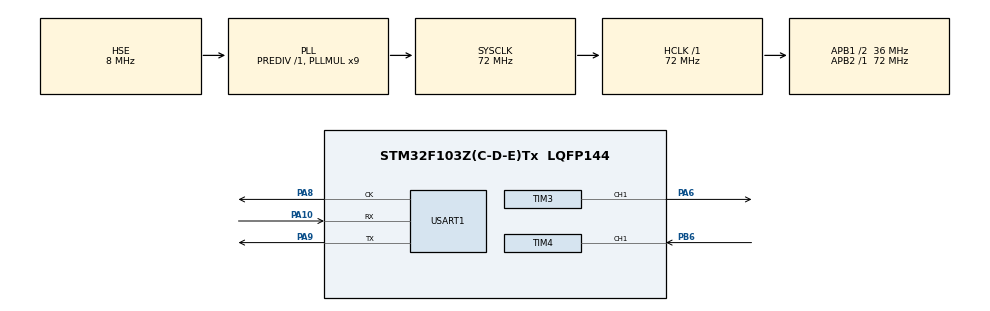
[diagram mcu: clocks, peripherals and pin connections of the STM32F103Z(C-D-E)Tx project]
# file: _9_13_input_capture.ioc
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Mcu.Family=STM32F1
Mcu.Name=STM32F103Z(C-D-E)Tx
Mcu.Package=LQFP144
NVIC.PriorityGroup=NVIC_PRIORITYGROUP_4
NVIC.TIM4_IRQn=true\:0\:0\:false\:false\:true\:true\:true
OSC_IN.Mode=HSE-External-Oscillator
OSC_IN.Signal=RCC_OSC_IN
OSC_OUT.Mode=HSE-External-Oscillator
OSC_OUT.Signal=RCC_OSC_OUT
PA10.Mode=Synchronous
PA10.Signal=USART1_RX
PA13.Mode=Serial_Wire
PA13.Signal=SYS_JTMS-SWDIO
PA14.Mode=Serial_Wire
PA14.Signal=SYS_JTCK-SWCLK
PA6.Signal=S_TIM3_CH1
PA8.Mode=Synchronous
PA8.Signal=USART1_CK
PA9.Mode=Synchronous
PA9.Signal=USART1_TX
PB6.Signal=S_TIM4_CH1
ProjectManager.HeapSize=0x200
ProjectManager.StackSize=0x400
ProjectManager.TargetToolchain=MDK-ARM V5
RCC.AHBFreq_Value=72000000
RCC.APB1CLKDivider=RCC_HCLK_DIV2
RCC.APB1Freq_Value=36000000
RCC.APB1TimFreq_Value=72000000
RCC.APB2Freq_Value=72000000
RCC.APB2TimFreq_Value=72000000
RCC.HCLKFreq_Value=72000000
RCC.PLLMUL=RCC_PLL_MUL9
RCC.PLLSourceVirtual=RCC_PLLSOURCE_HSE
RCC.SYSCLKFreq_VALUE=72000000
RCC.SYSCLKSource=RCC_SYSCLKSOURCE_PLLCLK
RCC.USBFreq_Value=72000000
SH.S_TIM3_CH1.0=TIM3_CH1,PWM Generation1 CH1
SH.S_TIM4_CH1.0=TIM4_CH1,Input_Capture1_from_TI1
TIM3.Channel-PWM\ Generation1\ CH1=TIM_CHANNEL_1
TIM3.Period=1999
TIM3.Prescaler=7199
TIM3.Pulse-PWM\ Generation1\ CH1=1000
TIM4.Channel-Input_Capture1_from_TI1=TIM_CHANNEL_1
TIM4.ICFilter_CH1=0
TIM4.Period=9999
TIM4.Prescaler=71
USART1.VirtualMode=VM_SYNC
VP_TIM3_VS_ClockSourceINT.Mode=Internal
VP_TIM4_VS_ClockSourceINT.Mode=Internal
board=custom

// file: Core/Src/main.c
/* USER CODE BEGIN Header */
/**
  ******************************************************************************
  * @file           : main.c
  * @brief          : Main program body
  ******************************************************************************
  * @attention
  *
  * <h2><center>&copy; Copyright (c) 2022 STMicroelectronics.
  * All rights reserved.</center></h2>
  *
  * This software component is licensed by ST under BSD 3-Clause license,
  * the "License"; You may not use this file except in compliance with the
  * License. You may obtain a copy of the License at:
  *                        opensource.org/licenses/BSD-3-Clause
  *
  ******************************************************************************
  */
/* USER CODE END Header */
#include "main.h"
#include "tim.h"
#include "usart.h"
#include "gpio.h"

/* USER CODE BEGIN Includes */
#include "string.h"
#include "stdio.h"
/* USER CODE END Includes */

/* USER CODE BEGIN PM */
#define TR_RISING 0
#define TR_FALLING 1
/* USER CODE END PM */

/* USER CODE BEGIN PV */
uint8_t TIM4CH1_CAPTURE_STA = 0; //输入捕获状态 bit0~bit5表示溢出次数  bit6表示上升沿已捕获 bit7表示下降沿已捕获
uint32_t TIM4CH1_CAPTURE_VAL = 0; //输入捕获值
/* USER CODE END PV */

void SystemClock_Config(void);

int main(void)
{
  /* USER CODE BEGIN 1 */
	uint8_t OverFlowCount;//溢出次数
  long long HighLevelTime = 0; //高电平脉冲多少个
  /* USER CODE END 1 */

  /* MCU Configuration--------------------------------------------------------*/

  /* Reset of all peripherals, Initializes the Flash interface and the Systick. */
  HAL_Init();

  /* Configure the system clock */
  SystemClock_Config();

  /* Initialize all configured peripherals */
  MX_GPIO_Init();
  MX_TIM3_Init();
  MX_TIM4_Init();
  MX_USART1_Init();
  /* USER CODE BEGIN 2 */
  __HAL_TIM_ENABLE_IT(&htim4,TIM_IT_UPDATE);//使能update中断，set DIER的UIE位
  HAL_TIM_IC_Start_IT(&htim4,TIM_CHANNEL_1);//使能捕获比较中断，使能捕获比较通道，并使能计数器，set DIER的CC1IE位，set CCER的CC1E位 ，set CR1的CEN位
  HAL_TIM_PWM_Start(&htim3,TIM_CHANNEL_1);//使能捕获比较通道，并使能计数器，set CCER的CC1E位，set CR1的CEN位
  /* USER CODE END 2 */

  /* Infinite loop */
  while (1)
  {

    /* USER CODE BEGIN 3 */
	  if(TIM4CH1_CAPTURE_STA&0X80) //bit7=1 说明成功捕获到了一次高电平
		{
			OverFlowCount = TIM4CH1_CAPTURE_STA&0X3F;
			HighLevelTime = OverFlowCount;
			printf("OverFlowCount = %d\r\n", OverFlowCount);
			/*溢出时间总和*/
			HighLevelTime = (HighLevelTime*(htim4.Init.Period+1))+TIM4CH1_CAPTURE_VAL;
			printf("HIGH:%lld\r\n",HighLevelTime);//打印总的高点平计数次数
			TIM4CH1_CAPTURE_STA=0; //一次捕获完成，重置 0
		}

  }
  /* USER CODE END 3 */
}

void SystemClock_Config(void)
{
  RCC_OscInitTypeDef RCC_OscInitStruct = {0};
  RCC_ClkInitTypeDef RCC_ClkInitStruct = {0};

  /** Initializes the RCC Oscillators according to the specified parameters
  * in the RCC_OscInitTypeDef structure.
  */
  RCC_OscInitStruct.OscillatorType = RCC_OSCILLATORTYPE_HSE;
  RCC_OscInitStruct.HSEState = RCC_HSE_ON;
  RCC_OscInitStruct.HSEPredivValue = RCC_HSE_PREDIV_DIV1;
  RCC_OscInitStruct.HSIState = RCC_HSI_ON;
  RCC_OscInitStruct.PLL.PLLState = RCC_PLL_ON;
  RCC_OscInitStruct.PLL.PLLSource = RCC_PLLSOURCE_HSE;
  RCC_OscInitStruct.PLL.PLLMUL = RCC_PLL_MUL9;
  if (HAL_RCC_OscConfig(&RCC_OscInitStruct) != HAL_OK)
  {
    Error_Handler();
  }
  /** Initializes the CPU, AHB and APB buses clocks
  */
  RCC_ClkInitStruct.ClockType = RCC_CLOCKTYPE_HCLK|RCC_CLOCKTYPE_SYSCLK
                              |RCC_CLOCKTYPE_PCLK1|RCC_CLOCKTYPE_PCLK2;
  RCC_ClkInitStruct.SYSCLKSource = RCC_SYSCLKSOURCE_PLLCLK;
  RCC_ClkInitStruct.AHBCLKDivider = RCC_SYSCLK_DIV1;
  RCC_ClkInitStruct.APB1CLKDivider = RCC_HCLK_DIV2;
  RCC_ClkInitStruct.APB2CLKDivider = RCC_HCLK_DIV1;

  if (HAL_RCC_ClockConfig(&RCC_ClkInitStruct, FLASH_LATENCY_2) != HAL_OK)
  {
    Error_Handler();
  }
}

/* USER CODE BEGIN 4 */
/*捕获中断回调函数*/
void HAL_TIM_IC_CaptureCallback(TIM_HandleTypeDef *htim)
{
	if(htim == &htim4)
	{
		if((TIM4CH1_CAPTURE_STA & 0x80) == 0) //bit7 为 0 说明一次捕获没有完成
		{
			/*bit6=1 说明刚才已经捕获到上升沿，本次中断由下降沿触发导致*/
			if(TIM4CH1_CAPTURE_STA & 0x40) //bit6==1，表示上升沿已捕获，由下降沿触发中断
			{
				//printf("CNT:%d\r\n",__HAL_TIM_GetCounter(&htim4));
				TIM4CH1_CAPTURE_STA |= 0x80; //下降沿到说明一次捕获结束
				TIM4CH1_CAPTURE_VAL = HAL_TIM_ReadCapturedValue(&htim4,TIM_CHANNEL_1);//读取捕获比较寄存器CCR1的值

				/*设置为上升沿触发*/
				TIM_RESET_CAPTUREPOLARITY(&htim4, TIM_CHANNEL_1);//reset CCER的CC1P位和CC1NE位
				TIM_SET_CAPTUREPOLARITY(&htim4, TIM_CHANNEL_1, TIM_INPUTCHANNELPOLARITY_RISING);//将CCER的CC1P位设置为上升沿触发
			}
			else //bit6 不等于 1，说明本次中断由上升沿触发
			{
				__HAL_TIM_DISABLE(&htim4);//停止计数，resetCR1的CEN位
				TIM4CH1_CAPTURE_STA = 0;
				TIM4CH1_CAPTURE_STA |= 0x40; //bit6 置 1 说明上升沿捕获到了
				TIM4CH1_CAPTURE_VAL = 0;
				__HAL_TIM_SetCounter(&htim4, 0);//设置CNT寄存器的值

				/*设置为下降沿触发*/
				TIM_RESET_CAPTUREPOLARITY(&htim4, TIM_CHANNEL_1);//reset CCER的CC1P位和CC1NE位
				TIM_SET_CAPTUREPOLARITY(&htim4, TIM_CHANNEL_1, TIM_INPUTCHANNELPOLARITY_FALLING);//将CCER的CC1P位设置为下降沿触发

				__HAL_TIM_ENABLE(&htim4);//开始计数，setCR1的CEN位
			}
		}
	}
}

/*溢出中断回调函数*/
void HAL_TIM_PeriodElapsedCallback(TIM_HandleTypeDef *htim)
{
	if(htim == &htim4)
	{
		if((TIM4CH1_CAPTURE_STA & 0x80) == 0) //结果为 0 说明一次捕获没有完成
		{
			if(TIM4CH1_CAPTURE_STA & 0x40) //bit6=1 说明捕获到上升沿
			{
				if((TIM4CH1_CAPTURE_STA & 0x3F) == 0x3F) //判断计数位满没有
				{
					TIM4CH1_CAPTURE_STA |= 0x80; //满，说明高电平太长，可能出错了
					TIM4CH1_CAPTURE_STA &= ~0x3F;
					TIM4CH1_CAPTURE_VAL = 0xFFFFFFFF;
				}
				else
				{
					TIM4CH1_CAPTURE_STA++; //如果低 6 位还没有满，溢出一次加一次
					__HAL_TIM_SetCounter(&htim4,0);//这里将CNT设为0，是因为下降沿中断时，由于速度太快了，CNT的值还没有来得及被硬件置为0，导致多加一个ARR【先是溢出中断，然后下降沿中断】
													//也可以把这代码注释，然后将TIM4的ARR的值增大一点比如+1
					//printf("---------DEBUG-----------\r\n");
					//printf("TIM4CH1_CAPTURE_STA:%d--------",TIM4CH1_CAPTURE_STA);
				}

			}
		}
	}

}

int32_t fputc(int32_t ch, FILE *f)
{
	uint8_t temp = (uint8_t)ch;
	HAL_USART_Transmit(&husart1, &temp, 1, 10);
	return ch;
}

/* USER CODE END 4 */

void Error_Handler(void)
{
  __disable_irq();
  while (1)
  {
  }
}

/************************ (C) COPYRIGHT STMicroelectronics *****END OF FILE****/
